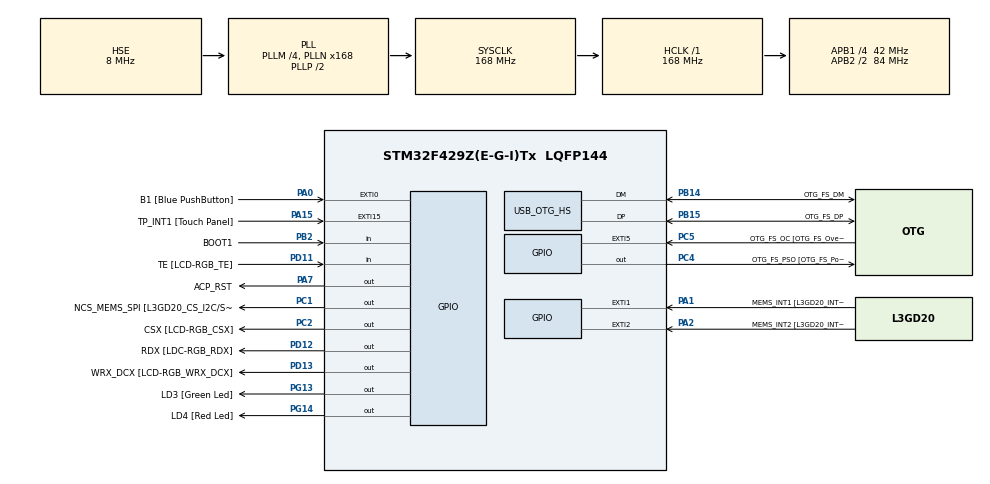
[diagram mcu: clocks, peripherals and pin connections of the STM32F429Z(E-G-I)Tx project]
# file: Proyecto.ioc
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FREERTOS.INCLUDE_vTaskDelayUntil=1
FREERTOS.Tasks01=defaultTask,0,128,StartDefaultTask,Default
Mcu.Family=STM32F4
Mcu.Name=STM32F429Z(E-G-I)Tx
Mcu.Package=LQFP144
NVIC.OTG_HS_IRQn=true\:5\:0\:false\:false\:true\:true
NVIC.PriorityGroup=NVIC_PRIORITYGROUP_4
PA0/WKUP.GPIO_Label=B1 [Blue PushButton]
PA0/WKUP.GPIO_ModeDefaultEXTI=GPIO_MODE_EVT_RISING
PA0/WKUP.GPIO_PuPd=GPIO_NOPULL
PA0/WKUP.Signal=GPXTI0
PA1.GPIO_Label=MEMS_INT1 [L3GD20_INT1]
PA1.GPIO_ModeDefaultEXTI=GPIO_MODE_EVT_RISING
PA1.GPIO_PuPd=GPIO_NOPULL
PA1.Signal=GPXTI1
PA10.GPIO_Label=STLINK_TX [STM32F103CBT6_PA2]
PA10.Signal=USART1_RX
PA11.GPIO_Label=R4
PA11.GPIO_Mode=GPIO_MODE_AF_PP
PA11.GPIO_PuPd=GPIO_NOPULL
PA11.GPIO_Speed=GPIO_SPEED_FREQ_LOW
PA11.Signal=LTDC_R4
PA12.GPIO_Label=R5
PA12.GPIO_Mode=GPIO_MODE_AF_PP
PA12.GPIO_PuPd=GPIO_NOPULL
PA12.GPIO_Speed=GPIO_SPEED_FREQ_LOW
PA12.Signal=LTDC_R5
PA13.GPIO_Label=SWDIO
PA13.Mode=Serial_Wire
PA13.Signal=SYS_JTMS-SWDIO
PA14.GPIO_Label=SWCLK
PA14.Mode=Serial_Wire
PA14.Signal=SYS_JTCK-SWCLK
PA15.GPIO_Label=TP_INT1 [Touch Panel]
PA15.GPIO_ModeDefaultEXTI=GPIO_MODE_EVT_RISING
PA15.GPIO_PuPd=GPIO_NOPULL
PA15.Signal=GPXTI15
PA2.GPIO_Label=MEMS_INT2 [L3GD20_INT2]
PA2.GPIO_ModeDefaultEXTI=GPIO_MODE_EVT_RISING
PA2.GPIO_PuPd=GPIO_NOPULL
PA2.Signal=GPXTI2
PA3.GPIO_Label=B5
PA3.GPIO_Mode=GPIO_MODE_AF_PP
PA3.GPIO_PuPd=GPIO_NOPULL
PA3.GPIO_Speed=GPIO_SPEED_FREQ_LOW
PA3.Signal=LTDC_B5
PA4.GPIO_Label=VSYNC
PA4.GPIO_Mode=GPIO_MODE_AF_PP
PA4.GPIO_PuPd=GPIO_NOPULL
PA4.GPIO_Speed=GPIO_SPEED_FREQ_LOW
PA4.Signal=LTDC_VSYNC
PA6.GPIO_Label=G2
PA6.GPIO_Mode=GPIO_MODE_AF_PP
PA6.GPIO_PuPd=GPIO_NOPULL
PA6.GPIO_Speed=GPIO_SPEED_FREQ_LOW
PA6.Signal=LTDC_G2
PA7.GPIO_Label=ACP_RST
PA7.GPIO_Mode=GPIO_MODE_OUTPUT_PP
PA7.GPIO_PuPd=GPIO_NOPULL
PA7.GPIO_Speed=GPIO_SPEED_FREQ_LOW
PA7.Signal=GPIO_Output
PA8.GPIO_Label=I2C3_SCL [ACP/RF_SCL]
PA8.GPIO_Mode=GPIO_MODE_AF_OD
PA8.GPIO_PuPd=GPIO_NOPULL
PA8.GPIO_Speed=GPIO_SPEED_FREQ_LOW
PA8.Signal=I2C3_SCL
PA9.GPIO_Label=STLINK_RX [STM32F103CBT6_PA3]
PA9.Signal=USART1_TX
PB0.GPIO_Label=R3
PB0.GPIO_Mode=GPIO_MODE_AF_PP
PB0.GPIO_PuPd=GPIO_NOPULL
PB0.GPIO_Speed=GPIO_SPEED_FREQ_LOW
PB0.Signal=LTDC_R3
PB1.GPIO_Label=R6
PB1.GPIO_Mode=GPIO_MODE_AF_PP
PB1.GPIO_PuPd=GPIO_NOPULL
PB1.GPIO_Speed=GPIO_SPEED_FREQ_LOW
PB1.Signal=LTDC_R6
PB10.GPIO_Label=G4
PB10.GPIO_Mode=GPIO_MODE_AF_PP
PB10.GPIO_PuPd=GPIO_NOPULL
PB10.GPIO_Speed=GPIO_SPEED_FREQ_LOW
PB10.Signal=LTDC_G4
PB11.GPIO_Label=G5
PB11.GPIO_Mode=GPIO_MODE_AF_PP
PB11.GPIO_PuPd=GPIO_NOPULL
PB11.GPIO_Speed=GPIO_SPEED_FREQ_LOW
PB11.Signal=LTDC_G5
PB12.GPIO_Label=OTG_FS_ID
PB12.GPIO_Mode=GPIO_MODE_AF_PP
PB12.GPIO_PuPd=GPIO_NOPULL
PB12.GPIO_Speed=GPIO_SPEED_FREQ_LOW
PB12.Signal=USB_OTG_HS_ID
PB13.GPIO_Label=VBUS_FS
PB13.GPIO_Mode=GPIO_MODE_INPUT
PB13.GPIO_PuPd=GPIO_NOPULL
PB13.Signal=USB_OTG_HS_VBUS
PB14.GPIO_Label=OTG_FS_DM
PB14.GPIO_Mode=GPIO_MODE_AF_PP
PB14.GPIO_PuPd=GPIO_NOPULL
PB14.GPIO_Speed=GPIO_SPEED_FREQ_HIGH
PB14.Mode=Device_Only_FS
PB14.Signal=USB_OTG_HS_DM
PB15.GPIO_Label=OTG_FS_DP
PB15.GPIO_Mode=GPIO_MODE_AF_PP
PB15.GPIO_PuPd=GPIO_NOPULL
PB15.GPIO_Speed=GPIO_SPEED_FREQ_HIGH
PB15.Mode=Device_Only_FS
PB15.Signal=USB_OTG_HS_DP
PB2/BOOT1.GPIO_Label=BOOT1
PB2/BOOT1.GPIO_Mode=GPIO_MODE_INPUT
PB2/BOOT1.GPIO_PuPd=GPIO_NOPULL
PB2/BOOT1.Signal=GPIO_Input
PB5.GPIO_Label=SDCKE1
PB5.GPIO_Mode=GPIO_MODE_AF_PP
PB5.GPIO_PuPd=GPIO_NOPULL
PB5.GPIO_Speed=GPIO_SPEED_FREQ_VERY_HIGH
PB5.Signal=FMC_SDCKE1
PB6.GPIO_Label=SDNE1 [SDRAM_CS]
PB6.GPIO_Mode=GPIO_MODE_AF_PP
PB6.GPIO_PuPd=GPIO_NOPULL
PB6.GPIO_Speed=GPIO_SPEED_FREQ_VERY_HIGH
PB6.Signal=FMC_SDNE1
PB8.GPIO_Label=B6
PB8.GPIO_Mode=GPIO_MODE_AF_PP
PB8.GPIO_PuPd=GPIO_NOPULL
PB8.GPIO_Speed=GPIO_SPEED_FREQ_LOW
PB8.Signal=LTDC_B6
PB9.GPIO_Label=B7
PB9.GPIO_Mode=GPIO_MODE_AF_PP
PB9.GPIO_PuPd=GPIO_NOPULL
PB9.GPIO_Speed=GPIO_SPEED_FREQ_LOW
PB9.Signal=LTDC_B7
PC0.GPIO_Label=SDNWE
PC0.GPIO_Mode=GPIO_MODE_AF_PP
PC0.GPIO_PuPd=GPIO_NOPULL
PC0.GPIO_Speed=GPIO_SPEED_FREQ_VERY_HIGH
PC0.Signal=FMC_SDNWE
PC1.GPIO_Label=NCS_MEMS_SPI [L3GD20_CS_I2C/SPI]
PC1.GPIO_Mode=GPIO_MODE_OUTPUT_PP
PC1.GPIO_PuPd=GPIO_NOPULL
PC1.GPIO_Speed=GPIO_SPEED_FREQ_LOW
PC1.Signal=GPIO_Output
PC10.GPIO_Label=R2
PC10.GPIO_Mode=GPIO_MODE_AF_PP
PC10.GPIO_PuPd=GPIO_NOPULL
PC10.GPIO_Speed=GPIO_SPEED_FREQ_LOW
PC10.Signal=LTDC_R2
PC14/OSC32_IN.GPIO_Label=PC14-OSC32_IN
PC14/OSC32_IN.Signal=RCC_OSC32_IN
PC15/OSC32_OUT.GPIO_Label=PC15-OSC32_OUT
PC15/OSC32_OUT.Signal=RCC_OSC32_OUT
PC2.GPIO_Label=CSX [LCD-RGB_CSX]
PC2.GPIO_Mode=GPIO_MODE_OUTPUT_PP
PC2.GPIO_PuPd=GPIO_NOPULL
PC2.GPIO_Speed=GPIO_SPEED_FREQ_LOW
PC2.Signal=GPIO_Output
PC4.GPIO_Label=OTG_FS_PSO [OTG_FS_PowerSwitchOn]
PC4.GPIO_Mode=GPIO_MODE_OUTPUT_PP
PC4.GPIO_PuPd=GPIO_NOPULL
PC4.GPIO_Speed=GPIO_SPEED_FREQ_LOW
PC4.Signal=GPIO_Output
PC5.GPIO_Label=OTG_FS_OC [OTG_FS_OverCurrent]
PC5.GPIO_ModeDefaultEXTI=GPIO_MODE_EVT_RISING
PC5.Signal=GPXTI5
PC6.GPIO_Label=HSYNC
PC6.GPIO_Mode=GPIO_MODE_AF_PP
PC6.GPIO_PuPd=GPIO_NOPULL
PC6.GPIO_Speed=GPIO_SPEED_FREQ_LOW
PC6.Signal=LTDC_HSYNC
PC7.GPIO_Label=G6
PC7.GPIO_Mode=GPIO_MODE_AF_PP
PC7.GPIO_PuPd=GPIO_NOPULL
PC7.GPIO_Speed=GPIO_SPEED_FREQ_LOW
PC7.Signal=LTDC_G6
PC9.GPIO_Label=I2C3_SDA [ACP/RF_SDA]
PC9.GPIO_Mode=GPIO_MODE_AF_OD
PC9.GPIO_PuPd=GPIO_NOPULL
PC9.GPIO_Speed=GPIO_SPEED_FREQ_LOW
PC9.Signal=I2C3_SDA
PD0.GPIO_Label=D2
PD0.GPIO_Mode=GPIO_MODE_AF_PP
PD0.GPIO_PuPd=GPIO_NOPULL
PD0.GPIO_Speed=GPIO_SPEED_FREQ_VERY_HIGH
PD0.Signal=FMC_D2_DA2
PD1.GPIO_Label=D3
PD1.GPIO_Mode=GPIO_MODE_AF_PP
PD1.GPIO_PuPd=GPIO_NOPULL
PD1.GPIO_Speed=GPIO_SPEED_FREQ_VERY_HIGH
PD1.Signal=FMC_D3_DA3
PD10.GPIO_Label=D15
PD10.GPIO_Mode=GPIO_MODE_AF_PP
PD10.GPIO_PuPd=GPIO_NOPULL
PD10.GPIO_Speed=GPIO_SPEED_FREQ_VERY_HIGH
PD10.Signal=FMC_D15_DA15
PD11.GPIO_Label=TE [LCD-RGB_TE]
PD11.GPIO_Mode=GPIO_MODE_INPUT
PD11.GPIO_PuPd=GPIO_NOPULL
PD11.Signal=GPIO_Input
PD12.GPIO_Label=RDX [LDC-RGB_RDX]
PD12.GPIO_Mode=GPIO_MODE_OUTPUT_PP
PD12.GPIO_PuPd=GPIO_NOPULL
PD12.GPIO_Speed=GPIO_SPEED_FREQ_LOW
PD12.Signal=GPIO_Output
PD13.GPIO_Label=WRX_DCX [LCD-RGB_WRX_DCX]
PD13.GPIO_Mode=GPIO_MODE_OUTPUT_PP
PD13.GPIO_PuPd=GPIO_NOPULL
PD13.GPIO_Speed=GPIO_SPEED_FREQ_LOW
PD13.Signal=GPIO_Output
PD14.GPIO_Label=D0
PD14.GPIO_Mode=GPIO_MODE_AF_PP
PD14.GPIO_PuPd=GPIO_NOPULL
PD14.GPIO_Speed=GPIO_SPEED_FREQ_VERY_HIGH
PD14.Signal=FMC_D0_DA0
PD15.GPIO_Label=D1
PD15.GPIO_Mode=GPIO_MODE_AF_PP
PD15.GPIO_PuPd=GPIO_NOPULL
PD15.GPIO_Speed=GPIO_SPEED_FREQ_VERY_HIGH
PD15.Signal=FMC_D1_DA1
PD3.GPIO_Label=G7
PD3.GPIO_Mode=GPIO_MODE_AF_PP
PD3.GPIO_PuPd=GPIO_NOPULL
PD3.GPIO_Speed=GPIO_SPEED_FREQ_LOW
PD3.Signal=LTDC_G7
PD6.GPIO_Label=B2
PD6.GPIO_Mode=GPIO_MODE_AF_PP
PD6.GPIO_PuPd=GPIO_NOPULL
PD6.GPIO_Speed=GPIO_SPEED_FREQ_LOW
PD6.Signal=LTDC_B2
PD8.GPIO_Label=D13
PD8.GPIO_Mode=GPIO_MODE_AF_PP
PD8.GPIO_PuPd=GPIO_NOPULL
PD8.GPIO_Speed=GPIO_SPEED_FREQ_VERY_HIGH
PD8.Signal=FMC_D13_DA13
PD9.GPIO_Label=D14
PD9.GPIO_Mode=GPIO_MODE_AF_PP
PD9.GPIO_PuPd=GPIO_NOPULL
PD9.GPIO_Speed=GPIO_SPEED_FREQ_VERY_HIGH
PD9.Signal=FMC_D14_DA14
PE0.GPIO_Label=NBL0 [SDRAM_LDQM]
PE0.GPIO_Mode=GPIO_MODE_AF_PP
PE0.GPIO_PuPd=GPIO_NOPULL
PE0.GPIO_Speed=GPIO_SPEED_FREQ_VERY_HIGH
PE0.Signal=FMC_NBL0
PE1.GPIO_Label=NBL1 [SDRAM_UDQM]
PE1.GPIO_Mode=GPIO_MODE_AF_PP
PE1.GPIO_PuPd=GPIO_NOPULL
PE1.GPIO_Speed=GPIO_SPEED_FREQ_VERY_HIGH
PE1.Signal=FMC_NBL1
PE10.GPIO_Label=D7
PE10.GPIO_Mode=GPIO_MODE_AF_PP
PE10.GPIO_PuPd=GPIO_NOPULL
PE10.GPIO_Speed=GPIO_SPEED_FREQ_VERY_HIGH
PE10.Signal=FMC_D7_DA7
PE11.GPIO_Label=D8
PE11.GPIO_Mode=GPIO_MODE_AF_PP
PE11.GPIO_PuPd=GPIO_NOPULL
PE11.GPIO_Speed=GPIO_SPEED_FREQ_VERY_HIGH
PE11.Signal=FMC_D8_DA8
PE12.GPIO_Label=D9
PE12.GPIO_Mode=GPIO_MODE_AF_PP
PE12.GPIO_PuPd=GPIO_NOPULL
PE12.GPIO_Speed=GPIO_SPEED_FREQ_VERY_HIGH
PE12.Signal=FMC_D9_DA9
PE13.GPIO_Label=D10
PE13.GPIO_Mode=GPIO_MODE_AF_PP
PE13.GPIO_PuPd=GPIO_NOPULL
PE13.GPIO_Speed=GPIO_SPEED_FREQ_VERY_HIGH
PE13.Signal=FMC_D10_DA10
PE14.GPIO_Label=D11
PE14.GPIO_Mode=GPIO_MODE_AF_PP
PE14.GPIO_PuPd=GPIO_NOPULL
PE14.GPIO_Speed=GPIO_SPEED_FREQ_VERY_HIGH
PE14.Signal=FMC_D11_DA11
PE15.GPIO_Label=D12
PE15.GPIO_Mode=GPIO_MODE_AF_PP
PE15.GPIO_PuPd=GPIO_NOPULL
PE15.GPIO_Speed=GPIO_SPEED_FREQ_VERY_HIGH
PE15.Signal=FMC_D12_DA12
PE7.GPIO_Label=D4
PE7.GPIO_Mode=GPIO_MODE_AF_PP
PE7.GPIO_PuPd=GPIO_NOPULL
PE7.GPIO_Speed=GPIO_SPEED_FREQ_VERY_HIGH
PE7.Signal=FMC_D4_DA4
PE8.GPIO_Label=D5
PE8.GPIO_Mode=GPIO_MODE_AF_PP
PE8.GPIO_PuPd=GPIO_NOPULL
PE8.GPIO_Speed=GPIO_SPEED_FREQ_VERY_HIGH
PE8.Signal=FMC_D5_DA5
PE9.GPIO_Label=D6
PE9.GPIO_Mode=GPIO_MODE_AF_PP
PE9.GPIO_PuPd=GPIO_NOPULL
PE9.GPIO_Speed=GPIO_SPEED_FREQ_VERY_HIGH
PE9.Signal=FMC_D6_DA6
PF0.GPIO_Label=A0
PF0.GPIO_Mode=GPIO_MODE_AF_PP
PF0.GPIO_PuPd=GPIO_NOPULL
PF0.GPIO_Speed=GPIO_SPEED_FREQ_VERY_HIGH
PF0.Signal=FMC_A0
PF1.GPIO_Label=A1
PF1.GPIO_Mode=GPIO_MODE_AF_PP
PF1.GPIO_PuPd=GPIO_NOPULL
PF1.GPIO_Speed=GPIO_SPEED_FREQ_VERY_HIGH
PF1.Signal=FMC_A1
PF10.GPIO_Label=ENABLE [LCD-RGB_ENABLE]
PF10.GPIO_Mode=GPIO_MODE_AF_PP
PF10.GPIO_PuPd=GPIO_NOPULL
PF10.GPIO_Speed=GPIO_SPEED_FREQ_LOW
PF10.Signal=LTDC_DE
PF11.GPIO_Label=SDNRAS
PF11.GPIO_Mode=GPIO_MODE_AF_PP
PF11.GPIO_PuPd=GPIO_NOPULL
PF11.GPIO_Speed=GPIO_SPEED_FREQ_VERY_HIGH
PF11.Signal=FMC_SDNRAS
PF12.GPIO_Label=A6
PF12.GPIO_Mode=GPIO_MODE_AF_PP
PF12.GPIO_PuPd=GPIO_NOPULL
PF12.GPIO_Speed=GPIO_SPEED_FREQ_VERY_HIGH
PF12.Signal=FMC_A6
PF13.GPIO_Label=A7
PF13.GPIO_Mode=GPIO_MODE_AF_PP
PF13.GPIO_PuPd=GPIO_NOPULL
PF13.GPIO_Speed=GPIO_SPEED_FREQ_VERY_HIGH
PF13.Signal=FMC_A7
PF14.GPIO_Label=A8
PF14.GPIO_Mode=GPIO_MODE_AF_PP
PF14.GPIO_PuPd=GPIO_NOPULL
PF14.GPIO_Speed=GPIO_SPEED_FREQ_VERY_HIGH
PF14.Signal=FMC_A8
PF15.GPIO_Label=A9
PF15.GPIO_Mode=GPIO_MODE_AF_PP
PF15.GPIO_PuPd=GPIO_NOPULL
PF15.GPIO_Speed=GPIO_SPEED_FREQ_VERY_HIGH
PF15.Signal=FMC_A9
PF2.GPIO_Label=A2
PF2.GPIO_Mode=GPIO_MODE_AF_PP
PF2.GPIO_PuPd=GPIO_NOPULL
PF2.GPIO_Speed=GPIO_SPEED_FREQ_VERY_HIGH
PF2.Signal=FMC_A2
PF3.GPIO_Label=A3
PF3.GPIO_Mode=GPIO_MODE_AF_PP
PF3.GPIO_PuPd=GPIO_NOPULL
PF3.GPIO_Speed=GPIO_SPEED_FREQ_VERY_HIGH
PF3.Signal=FMC_A3
PF4.GPIO_Label=A4
PF4.GPIO_Mode=GPIO_MODE_AF_PP
PF4.GPIO_PuPd=GPIO_NOPULL
PF4.GPIO_Speed=GPIO_SPEED_FREQ_VERY_HIGH
PF4.Signal=FMC_A4
PF5.GPIO_Label=A5
PF5.GPIO_Mode=GPIO_MODE_AF_PP
PF5.GPIO_PuPd=GPIO_NOPULL
PF5.GPIO_Speed=GPIO_SPEED_FREQ_VERY_HIGH
PF5.Signal=FMC_A5
PF7.GPIO_Label=SPI5_SCK [L3GD20_SCL/SPC]
PF7.GPIO_Mode=GPIO_MODE_AF_PP
PF7.GPIO_PuPd=GPIO_NOPULL
PF7.GPIO_Speed=GPIO_SPEED_FREQ_LOW
PF7.Signal=SPI5_SCK
PF8.GPIO_Label=SPI5_MISO [L3GD20_SDO]
PF8.GPIO_Mode=GPIO_MODE_AF_PP
PF8.GPIO_PuPd=GPIO_NOPULL
PF8.GPIO_Speed=GPIO_SPEED_FREQ_LOW
PF8.Signal=SPI5_MISO
PF9.GPIO_Label=SPI5_MOSI [L3GD20_SDA/SDI/SDO]
PF9.GPIO_Mode=GPIO_MODE_AF_PP
PF9.GPIO_PuPd=GPIO_NOPULL
PF9.GPIO_Speed=GPIO_SPEED_FREQ_LOW
PF9.Signal=SPI5_MOSI
PG0.GPIO_Label=A10
PG0.GPIO_Mode=GPIO_MODE_AF_PP
PG0.GPIO_PuPd=GPIO_NOPULL
PG0.GPIO_Speed=GPIO_SPEED_FREQ_VERY_HIGH
PG0.Signal=FMC_A10
PG1.GPIO_Label=A11
PG1.GPIO_Mode=GPIO_MODE_AF_PP
PG1.GPIO_PuPd=GPIO_NOPULL
PG1.GPIO_Speed=GPIO_SPEED_FREQ_VERY_HIGH
PG1.Signal=FMC_A11
PG10.GPIO_Label=G3
PG10.GPIO_Mode=GPIO_MODE_AF_PP
PG10.GPIO_PuPd=GPIO_NOPULL
PG10.GPIO_Speed=GPIO_SPEED_FREQ_LOW
PG10.Signal=LTDC_G3
PG11.GPIO_Label=B3
PG11.GPIO_Mode=GPIO_MODE_AF_PP
PG11.GPIO_PuPd=GPIO_NOPULL
PG11.GPIO_Speed=GPIO_SPEED_FREQ_LOW
PG11.Signal=LTDC_B3
PG12.GPIO_Label=B4
PG12.GPIO_Mode=GPIO_MODE_AF_PP
PG12.GPIO_PuPd=GPIO_NOPULL
PG12.GPIO_Speed=GPIO_SPEED_FREQ_LOW
PG12.Signal=LTDC_B4
PG13.GPIO_Label=LD3 [Green Led]
PG13.GPIO_Mode=GPIO_MODE_OUTPUT_PP
PG13.GPIO_PuPd=GPIO_NOPULL
PG13.GPIO_Speed=GPIO_SPEED_FREQ_LOW
PG13.Signal=GPIO_Output
PG14.GPIO_Label=LD4 [Red Led]
PG14.GPIO_Mode=GPIO_MODE_OUTPUT_PP
PG14.GPIO_PuPd=GPIO_NOPULL
PG14.GPIO_Speed=GPIO_SPEED_FREQ_LOW
PG14.Signal=GPIO_Output
PG15.GPIO_Label=SDNCAS
PG15.GPIO_Mode=GPIO_MODE_AF_PP
PG15.GPIO_PuPd=GPIO_NOPULL
PG15.GPIO_Speed=GPIO_SPEED_FREQ_VERY_HIGH
PG15.Signal=FMC_SDNCAS
PG4.GPIO_Label=BA0
PG4.GPIO_Mode=GPIO_MODE_AF_PP
PG4.GPIO_PuPd=GPIO_NOPULL
PG4.GPIO_Speed=GPIO_SPEED_FREQ_VERY_HIGH
PG4.Signal=FMC_A14_BA0
PG5.GPIO_Label=BA1
PG5.GPIO_Mode=GPIO_MODE_AF_PP
PG5.GPIO_PuPd=GPIO_NOPULL
PG5.GPIO_Speed=GPIO_SPEED_FREQ_VERY_HIGH
PG5.Signal=FMC_A15_BA1
PG6.GPIO_Label=R7
PG6.GPIO_Mode=GPIO_MODE_AF_PP
PG6.GPIO_PuPd=GPIO_NOPULL
PG6.GPIO_Speed=GPIO_SPEED_FREQ_LOW
PG6.Signal=LTDC_R7
PG7.GPIO_Label=DOTCLK [LCT-RGB_DOTCLK]
PG7.GPIO_Mode=GPIO_MODE_AF_PP
PG7.GPIO_PuPd=GPIO_NOPULL
PG7.GPIO_Speed=GPIO_SPEED_FREQ_LOW
PG7.Signal=LTDC_CLK
PG8.GPIO_Label=SDCLK
PG8.GPIO_Mode=GPIO_MODE_AF_PP
PG8.GPIO_PuPd=GPIO_NOPULL
PG8.GPIO_Speed=GPIO_SPEED_FREQ_VERY_HIGH
PG8.Signal=FMC_SDCLK
PH0/OSC_IN.GPIO_Label=PH0-OSC_IN
PH0/OSC_IN.Mode=HSE-External-Oscillator
PH0/OSC_IN.Signal=RCC_OSC_IN
PH1/OSC_OUT.GPIO_Label=PH1-OSC_OUT
PH1/OSC_OUT.Mode=HSE-External-Oscillator
PH1/OSC_OUT.Signal=RCC_OSC_OUT
ProjectManager.HeapSize=0x200
ProjectManager.StackSize=0x400
ProjectManager.TargetToolchain=SW4STM32
RCC.48MHZClocksFreq_Value=48000000
RCC.AHBFreq_Value=168000000
RCC.APB1CLKDivider=RCC_HCLK_DIV4
RCC.APB1Freq_Value=42000000
RCC.APB1TimFreq_Value=84000000
RCC.APB2CLKDivider=RCC_HCLK_DIV2
RCC.APB2Freq_Value=84000000
RCC.APB2TimFreq_Value=168000000
RCC.CortexFreq_Value=168000000
RCC.HCLKFreq_Value=168000000
RCC.HSE_VALUE=8000000
RCC.HSI_VALUE=16000000
RCC.LSE_VALUE=32768
RCC.PLLM=4
RCC.PLLN=168
RCC.PLLQ=7
RCC.SYSCLKFreq_VALUE=168000000
RCC.SYSCLKSource=RCC_SYSCLKSOURCE_PLLCLK
RCC.VCOOutputFreq_Value=336000000
SH.FMC_A0.0=FMC_A0
SH.FMC_A1.0=FMC_A1
SH.FMC_A10.0=FMC_A10
SH.FMC_A11.0=FMC_A11
SH.FMC_A14_BA0.0=FMC_BA0
SH.FMC_A15_BA1.0=FMC_BA1
SH.FMC_A2.0=FMC_A2
SH.FMC_A3.0=FMC_A3
SH.FMC_A4.0=FMC_A4
SH.FMC_A5.0=FMC_A5
SH.FMC_A6.0=FMC_A6
SH.FMC_A7.0=FMC_A7
SH.FMC_A8.0=FMC_A8
SH.FMC_A9.0=FMC_A9
SH.FMC_D0_DA0.0=FMC_D0
SH.FMC_D10_DA10.0=FMC_D10
SH.FMC_D11_DA11.0=FMC_D11
SH.FMC_D12_DA12.0=FMC_D12
SH.FMC_D13_DA13.0=FMC_D13
SH.FMC_D14_DA14.0=FMC_D14
SH.FMC_D15_DA15.0=FMC_D15
SH.FMC_D1_DA1.0=FMC_D1
SH.FMC_D2_DA2.0=FMC_D2
SH.FMC_D3_DA3.0=FMC_D3
SH.FMC_D4_DA4.0=FMC_D4
SH.FMC_D5_DA5.0=FMC_D5
SH.FMC_D6_DA6.0=FMC_D6
SH.FMC_D7_DA7.0=FMC_D7
SH.FMC_D8_DA8.0=FMC_D8
SH.FMC_D9_DA9.0=FMC_D9
SH.FMC_NBL0.0=FMC_NBL0
SH.FMC_NBL1.0=FMC_NBL1
SH.FMC_SDCLK.0=FMC_SDCLK
SH.FMC_SDNCAS.0=FMC_SDNCAS
SH.FMC_SDNRAS.0=FMC_SDNRAS
SH.FMC_SDNWE.0=FMC_SDNWE
USB_DEVICE.CLASS_NAME-CDC_HS=CDC
USB_DEVICE.CLASS_NAME_HS=CDC
USB_DEVICE.USBD_HandleTypeDef-CDC_HS=hUsbDeviceHS
USB_DEVICE.VirtualMode-CDC_HS=Cdc
USB_DEVICE.VirtualModeHS=Cdc_HS
USB_OTG_HS.VirtualMode-Device_Only_FS=Device_Only_FS
VP_FREERTOS_VS_ENABLE.Mode=Enabled
VP_USB_DEVICE_VS_USB_DEVICE_CDC_HS.Mode=CDC_HS
board=STM32F429I-DISC1

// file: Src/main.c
/**
 ******************************************************************************
 * File Name          : main.c
 * Description        : Main program body
 ******************************************************************************
 *
 * COPYRIGHT(c) 2016 STMicroelectronics
 *
 * Redistribution and use in source and binary forms, with or without modification,
 * are permitted provided that the following conditions are met:
 *   1. Redistributions of source code must retain the above copyright notice,
 *      this list of conditions and the following disclaimer.
 *   2. Redistributions in binary form must reproduce the above copyright notice,
 *      this list of conditions and the following disclaimer in the documentation
 *      and/or other materials provided with the distribution.
 *   3. Neither the name of STMicroelectronics nor the names of its contributors
 *      may be used to endorse or promote products derived from this software
 *      without specific prior written permission.
 *
 * THIS SOFTWARE IS PROVIDED BY THE COPYRIGHT HOLDERS AND CONTRIBUTORS "AS IS"
 * AND ANY EXPRESS OR IMPLIED WARRANTIES, INCLUDING, BUT NOT LIMITED TO, THE
 * IMPLIED WARRANTIES OF MERCHANTABILITY AND FITNESS FOR A PARTICULAR PURPOSE ARE
 * DISCLAIMED. IN NO EVENT SHALL THE COPYRIGHT HOLDER OR CONTRIBUTORS BE LIABLE
 * FOR ANY DIRECT, INDIRECT, INCIDENTAL, SPECIAL, EXEMPLARY, OR CONSEQUENTIAL
 * DAMAGES (INCLUDING, BUT NOT LIMITED TO, PROCUREMENT OF SUBSTITUTE GOODS OR
 * SERVICES; LOSS OF USE, DATA, OR PROFITS; OR BUSINESS INTERRUPTION) HOWEVER
 * CAUSED AND ON ANY THEORY OF LIABILITY, WHETHER IN CONTRACT, STRICT LIABILITY,
 * OR TORT (INCLUDING NEGLIGENCE OR OTHERWISE) ARISING IN ANY WAY OUT OF THE USE
 * OF THIS SOFTWARE, EVEN IF ADVISED OF THE POSSIBILITY OF SUCH DAMAGE.
 *
 ******************************************************************************
 */
#include "stm32f4xx_hal.h"
#include "cmsis_os.h"
#include "usb_device.h"
#include "gpio.h"
#include "stm32f429i_discovery_gyroscope.h"
#include "stm32f429i_discovery_lcd.h"
#include "stm32f429i_discovery_ts.h"

/* USER CODE BEGIN PV */
/* Private variables ---------------------------------------------------------*/

/* USER CODE END PV */

void SystemClock_Config(void);
void Error_Handler(void);
void MX_FREERTOS_Init(void);

/* USER CODE BEGIN PFP */
/* Private function prototypes -----------------------------------------------*/

/* USER CODE END PFP */

int main(void)
{

	/* USER CODE BEGIN 1 */
	TS_StateTypeDef TouchScreen;
	/* USER CODE END 1 */

	/* MCU Configuration----------------------------------------------------------*/

	/* Reset of all peripherals, Initializes the Flash interface and the Systick. */
	HAL_Init();

	/* Configure the system clock */
	SystemClock_Config();

	/* Initialize all configured peripherals */
	MX_GPIO_Init();
	MX_USB_DEVICE_Init();
	BSP_GYRO_Init();
	BSP_LCD_Init();
	BSP_LCD_LayerDefaultInit(1, LCD_FRAME_BUFFER);
	BSP_LCD_SelectLayer(1);
	BSP_TS_Init(240, 320);
	BSP_PB_Init(BUTTON_KEY, BUTTON_MODE_GPIO);

	/* USER CODE BEGIN 2 */
	BSP_LCD_SetBackColor(LCD_COLOR_WHITE);
	BSP_LCD_Clear(LCD_COLOR_WHITE);
	BSP_LCD_DisplayStringAt(0, 50, "SNAKE", CENTER_MODE);
	BSP_LCD_DrawRect(50, 150, 140, 100);
	BSP_LCD_DisplayStringAt(0, 188 , "JUGAR", CENTER_MODE);
	/* USER CODE END 2 */

	/* Call init function for freertos objects (in freertos.c) */
	MX_FREERTOS_Init();

	/* Start scheduler */
	//osKernelStart();

	/* We should never get here as control is now taken by the scheduler */

	/* Infinite loop */
	while (1)
	{
		BSP_TS_GetState(&TouchScreen);
		if(TouchScreen.X >= 50 && TouchScreen.X <= 190 && TouchScreen.Y >= 150 && TouchScreen.Y <= 250){
			osKernelStart();
		}
	}

}

/** System Clock Configuration
 */
void SystemClock_Config(void)
{

	RCC_OscInitTypeDef RCC_OscInitStruct;
	RCC_ClkInitTypeDef RCC_ClkInitStruct;

	__HAL_RCC_PWR_CLK_ENABLE();

	__HAL_PWR_VOLTAGESCALING_CONFIG(PWR_REGULATOR_VOLTAGE_SCALE1);

	RCC_OscInitStruct.OscillatorType = RCC_OSCILLATORTYPE_HSE;
	RCC_OscInitStruct.HSEState = RCC_HSE_ON;
	RCC_OscInitStruct.PLL.PLLState = RCC_PLL_ON;
	RCC_OscInitStruct.PLL.PLLSource = RCC_PLLSOURCE_HSE;
	RCC_OscInitStruct.PLL.PLLM = 4;
	RCC_OscInitStruct.PLL.PLLN = 168;
	RCC_OscInitStruct.PLL.PLLP = RCC_PLLP_DIV2;
	RCC_OscInitStruct.PLL.PLLQ = 7;
	if (HAL_RCC_OscConfig(&RCC_OscInitStruct) != HAL_OK)
	{
		Error_Handler();
	}

	RCC_ClkInitStruct.ClockType = RCC_CLOCKTYPE_HCLK|RCC_CLOCKTYPE_SYSCLK
			|RCC_CLOCKTYPE_PCLK1|RCC_CLOCKTYPE_PCLK2;
	RCC_ClkInitStruct.SYSCLKSource = RCC_SYSCLKSOURCE_PLLCLK;
	RCC_ClkInitStruct.AHBCLKDivider = RCC_SYSCLK_DIV1;
	RCC_ClkInitStruct.APB1CLKDivider = RCC_HCLK_DIV4;
	RCC_ClkInitStruct.APB2CLKDivider = RCC_HCLK_DIV2;
	if (HAL_RCC_ClockConfig(&RCC_ClkInitStruct, FLASH_LATENCY_5) != HAL_OK)
	{
		Error_Handler();
	}

	HAL_SYSTICK_Config(HAL_RCC_GetHCLKFreq()/1000);

	HAL_SYSTICK_CLKSourceConfig(SYSTICK_CLKSOURCE_HCLK);

	/* SysTick_IRQn interrupt configuration */
	HAL_NVIC_SetPriority(SysTick_IRQn, 15, 0);
}
;

void Error_Handler(void)
{
	while(1)
	{
	}
}

/************************ (C) COPYRIGHT STMicroelectronics *****END OF FILE****/

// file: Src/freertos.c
/**
 ******************************************************************************
 * File Name          : freertos.c
 * Description        : Code for freertos applications
 ******************************************************************************
 *
 * COPYRIGHT(c) 2016 STMicroelectronics
 *
 * Redistribution and use in source and binaFrutasY forms, with or without modification,
 * are permitted provided that the following conditions are met:
 *   1. Redistributions of source code must retain the above copyright notice,
 *      this list of conditions and the following disclaimer.
 *   2. Redistributions in binaFrutasY form must reproduce the above copyright notice,
 *      this list of conditions and the following disclaimer in the documentation
 *      and/or other materials provided with the distribution.
 *   3. Neither the name of STMicroelectronics nor the names of its contributors
 *      may be used to endorse or promote products derived from this software
 *      without specific prior written permission.
 *
 * THIS SOFTWARE IS PROVIDED BY THE COPYRIGHT HOLDERS AND CONTRIBUTORS "AS IS"
 * AND ANY EXPRESS OR IMPLIED WARRANTIES, INCLUDING, BUT NOT LIMITED TO, THE
 * IMPLIED WARRANTIES OF MERCHANTABILITY AND FITNESS FOR A PARTICULAR PURPOSE ARE
 * DISCLAIMED. IN NO EVENT SHALL THE COPYRIGHT HOLDER OR CONTRIBUTORS BE LIABLE
 * FOR ANY DIRECT, INDIRECT, INCIDENTAL, SPECIAL, EXEMPLAFrutasY, OR CONSEQUENTIAL
 * DAMAGES (INCLUDING, BUT NOT LIMITED TO, PROCUREMENT OF SUBSTITUTE GOODS OR
 * SERVICES; LOSS OF USE, DATA, OR PROFITS; OR BUSINESS INTERRUPTION) HOWEVER
 * CAUSED AND ON ANY THEOFrutasY OF LIABILITY, WHETHER IN CONTRACT, STRICT LIABILITY,
 * OR TORT (INCLUDING NEGLIGENCE OR OTHERWISE) ARISING IN ANY WAY OUT OF THE USE
 * OF THIS SOFTWARE, EVEN IF ADVISED OF THE POSSIBILITY OF SUCH DAMAGE.
 *
 ******************************************************************************
 */

#include "FreeRTOS.h"
#include "task.h"
#include "cmsis_os.h"
#include "usbd_cdc_if.h"
#include <stdio.h>
#include <stdlib.h>
#include <time.h>
#include "stm32f4xx_hal.h"
#include "stm32f429i_discovery_gyroscope.h"
#include "stm32f429i_discovery_lcd.h"
#include "stm32f429i_discovery_ts.h"

osThreadId defaultTaskHandle;

/* USER CODE BEGIN Variables */
#define ABS(x)         (x < 0) ? (-x) : x
#define NFrutas 3
#define LongitudInicial 10
uint16_t Xpos[20] = {50, 50, 50, 50, 50, 50, 50, 50, 50, 50, 50, 50, 50, 50, 50, 50};
uint16_t Ypos[20] = {50, 50, 50, 50, 50 ,50, 50, 50, 50, 50, 50, 50, 50, 50, 50, 50};
uint8_t State = 0;
uint8_t Longitud = LongitudInicial;
uint8_t FrutaON = 0;
uint8_t FrutasX[NFrutas], FrutasY[NFrutas];
uint8_t GOver = 0;
TS_StateTypeDef TouchScreen;

/* USER CODE END Variables */

//TASKS
void GyroTask(void const * argument);
void LCDTask();
void GameTask();

//FUNCIONES
void ComprobarGyro(float, float, float*);
void PrintLCD(uint16_t XposTemp, uint16_t YposTemp);
void ActualizarPosicion();
void PararSnake();
void CrearFruta();
void ShiftArray();
void ComprobarFruta();
void ComprobarCuerpo();
void PrintGameOver();

void MX_FREERTOS_Init(void); /* (MISRA C 2004 rule 8.1) */

/* Hook prototypes */

/* Init FreeRTOS */

void MX_FREERTOS_Init(void) {
	/* USER CODE BEGIN Init */
	srand(time(NULL));
	/* USER CODE END Init */

	/* Create the thread(s) */
	/* definition and creation of defaultTask */
	osThreadDef(GyroTask, GyroTask, 2, 1, 128);
	defaultTaskHandle = osThreadCreate(osThread(GyroTask), NULL);

	/* USER CODE BEGIN RTOS_THREADS */
	/* add threads, ... */
	xTaskCreate( LCDTask, "LCDTask", 128, NULL, 1, NULL );
	xTaskCreate( GameTask, "GameTask", 128, NULL, 2, NULL );
	/* USER CODE END RTOS_THREADS */

}

/* StartDefaultTask function */

//Lee el valor del giroscopio, y establece una máquina de estados según hacia donde sea la lectura
void GyroTask(void const * argument)
{
	/* USER CODE BEGIN StartDefaultTask */
	float Buffer[3] = {0};
	float Xval, Yval = 0;
	BSP_GYRO_Reset();
	/* Infinite loop */
	while (1)
	{
		/* Read Gyro Angular data */
		BSP_GYRO_GetXYZ(Buffer);

		/* Update autoreload and capture compare registers value */
		Xval = ABS((Buffer[0]));
		Yval = ABS((Buffer[1]));

		ComprobarGyro(Xval, Yval, Buffer);
		osDelay(100);
	}
	/* USER CODE END StartDefaultTask */
}

/* USER CODE BEGIN Application */

//Actualiza el LCD con la posición del SNAKE
void LCDTask(){

	uint16_t XposTemp = 0;
	uint16_t YposTemp = 0;

	/* Clear the LCD */
	BSP_LCD_SetBackColor(LCD_COLOR_WHITE);
	BSP_LCD_Clear(LCD_COLOR_WHITE);

	for(;;){
		PrintLCD(XposTemp, YposTemp);
		osDelay(75);
	}
}

//Se encarga de actualizar la posición del Snake según el estado proporcionado por el GYRO
void GameTask(){
	for(;;){
		ActualizarPosicion();
		CrearFruta();
		PararSnake();
		ComprobarFruta();
		ComprobarCuerpo();
		osDelay(75);
	}
}

void ComprobarGyro(float Xval, float Yval, float* Buffer){
	/*
		X1 = Arriba
		X2 = Abajo
		Y1 = Izquierda
		Y2 = Derecha
	 */
	if(Xval>Yval){
		if(Buffer[0] > 20000.0f){
			//X1
			//Evitar que pueda girar 180º
			if(Ypos[0] + 10 != Ypos[1]){
				State = 1;
			}
		}else if(Buffer[0] < -20000.0f){
			//X2
			if(Ypos[0] - 10 != Ypos[1]){
				State = 3;
			}
		}
	}else if (Yval>Xval){
		if(Buffer[1] < -20000.0f){
			//Y1
			if(Xpos[0] - 10 != Xpos[1]){
				State = 4;
			}
		}else if(Buffer[1] > 20000.0f){
			//Y2
			if(Xpos[0] + 10 != Xpos[1]){
				State = 2;
			}
		}
	}
}

void PrintLCD(uint16_t XposTemp, uint16_t YposTemp){
	//La pantalla se actualiza unicamente si ha cambiado la posición del Snake
	if((YposTemp != Ypos[0] || XposTemp != Xpos[0]) && State != 0){
		XposTemp = Xpos[0];
		YposTemp = Ypos[0];
		BSP_LCD_Clear(LCD_COLOR_WHITE);
		//Pintar Cuerpo
		for(uint8_t i = 0; i < Longitud; i++){
			BSP_LCD_DrawCircle(Xpos[i], Ypos[i], 5);
		}
		//Pintar Ojos
		if(State == 1){
			BSP_LCD_DrawCircle(Xpos[0]+5, Ypos[0]+5, 2);
			BSP_LCD_DrawCircle(Xpos[0]-5, Ypos[0]+5, 2);
		}else if(State == 3){
			BSP_LCD_DrawCircle(Xpos[0]+5, Ypos[0]-5, 2);
			BSP_LCD_DrawCircle(Xpos[0]-5, Ypos[0]-5, 2);
		}else if(State == 2){
			BSP_LCD_DrawCircle(Xpos[0]+5, Ypos[0]+5, 2);
			BSP_LCD_DrawCircle(Xpos[0]+5, Ypos[0]-5, 2);
		}else if(State == 4){
			BSP_LCD_DrawCircle(Xpos[0]-5, Ypos[0]+5, 2);
			BSP_LCD_DrawCircle(Xpos[0]-5, Ypos[0]-5, 2);
		}
		//Pintar Fruta
		if(FrutaON == 1){
			for(uint8_t i = 0; i < NFrutas; i++){
				BSP_LCD_FillCircle(FrutasX[i], FrutasY[i], 4);
			}
		}
		//GAME OVER
		if(GOver == 1){
			vTaskSuspendAll();
			State = 0;
			TouchScreen.X = 0;
			TouchScreen.Y = 0;
			PrintGameOver();
			while(GOver == 1){
				BSP_TS_GetState(&TouchScreen);
				if(TouchScreen.X >= 50 && TouchScreen.X <= 190 && TouchScreen.Y >= 150 && TouchScreen.Y <= 250){
					GOver = 0;
					xTaskResumeAll ();
				}
			}
		}
	}
}

/*Incrementa la posición del Snake en X o en Y dependiendo del valor de State.
La posición se guarda en un array debido a que el tamaño del Snake es variable*/
void ActualizarPosicion(){
	char string[50];
	//Arriba
	if(State == 1){
		if(Ypos[0] <= 300){
			ShiftArray();
			Ypos[0] += 10;
		}
	}//Derecha
	else if(State == 2){
		if(Xpos[0] <= 220){
			ShiftArray();
			Xpos[0] += 10;
		}
	}//Abajo
	else if(State == 3){
		if(Ypos[0] >= 20){
			ShiftArray();
			Ypos[0] -= 10;
		}
	}//Izquierda
	else if(State == 4){
		if(Xpos[0] >= 20){
			ShiftArray();
			Xpos[0] -= 10;
		}
	}
	sprintf(string, "Gusano: %d, %d\n\r", Xpos[0], Ypos[0]);
	CDC_Transmit_HS((uint8_t*)string, strlen(string));
}

//Para parar el Snake, es necesario pulsar el botón de usuario
void PararSnake(){
	if(BSP_PB_GetState(BUTTON_KEY) == SET || GOver == 1){
		State = 0;
	}
}

//Crear Frutas para aumentar tamaño Snake
void CrearFruta(){
	//Genera una posición aleatoria
	uint8_t Valido = 0;
	uint8_t NValidos = 0;
	char string[100];
	while(NValidos < 3){
		while(Valido == 0 && FrutaON == 0){
			FrutasX[NValidos] = (rand() % 23)*10;
			FrutasY[NValidos] = (rand() % 31)*10;
			Valido = 1;
			if(FrutasX[NValidos] <= 10 || FrutasY[NValidos] <= 10 || (FrutasX[NValidos]%10 != 0) || (FrutasY[NValidos]%10 != 0)){
				Valido = 0;
			}else{
				for(uint8_t i = 0; i < Longitud; i++){
					if((FrutasX[0] == Xpos[i] && FrutasY[0] == Ypos[i])){
						Valido = 0;
					}
				}
			}
		}
		Valido = 0;
		NValidos += 1;
	}
	if(FrutaON == 0 && NValidos == 3){
		FrutaON = 1;
		sprintf(string, "Frutas: %d, %d - %d, %d - %d, %d\n\r", FrutasX[0], FrutasY[0], FrutasX[1], FrutasY[1], FrutasX[2], FrutasY[2]);
		CDC_Transmit_HS((uint8_t*)string, strlen(string));
	}
}

//Desplaza arrays de posición para añadir nuevos valores
void ShiftArray(){
	uint8_t i = Longitud-1;
	while(i > 0){
		i--;
		Xpos[i+1] = Xpos[i];
		Ypos[i+1] = Ypos[i];
	}
}

//Comprueba si se ha comido una fruta
void ComprobarFruta(){
	for(uint8_t i = 0; i < NFrutas; i++){
		if(FrutasX[i] == Xpos[0] && FrutasY[i] == Ypos[0]){
			Longitud += 2;
			FrutaON = 0;
		}
	}
}

//Comprobar si te comes a ti mismo
void ComprobarCuerpo(){
	if(State != 0){
		for(uint8_t i = 1; i < Longitud; i++){
			if(Xpos[0] == Xpos[i] && Ypos[0] == Ypos[i]){
				GOver = 1;
			}
		}
	}
}

void PrintGameOver(){
	char Puntos[40];
	BSP_LCD_Clear(LCD_COLOR_WHITE);
	BSP_LCD_SetFont(&Font24);
	BSP_LCD_DisplayStringAt(0, 50, "GAME OVER", CENTER_MODE);
	BSP_LCD_DrawRect(50, 150, 140, 100);
	BSP_LCD_DisplayStringAt(0, 188 , "JUGAR", CENTER_MODE);
	BSP_LCD_SetFont(&Font16);
	sprintf(Puntos, "Puntos: %d", (Longitud-LongitudInicial)/2);
	BSP_LCD_DisplayStringAt(0, 90, Puntos, CENTER_MODE);
}
/* USER CODE END Application */

/************************ (C) COPYRIGHT STMicroelectronics *****END OF FILE****/
